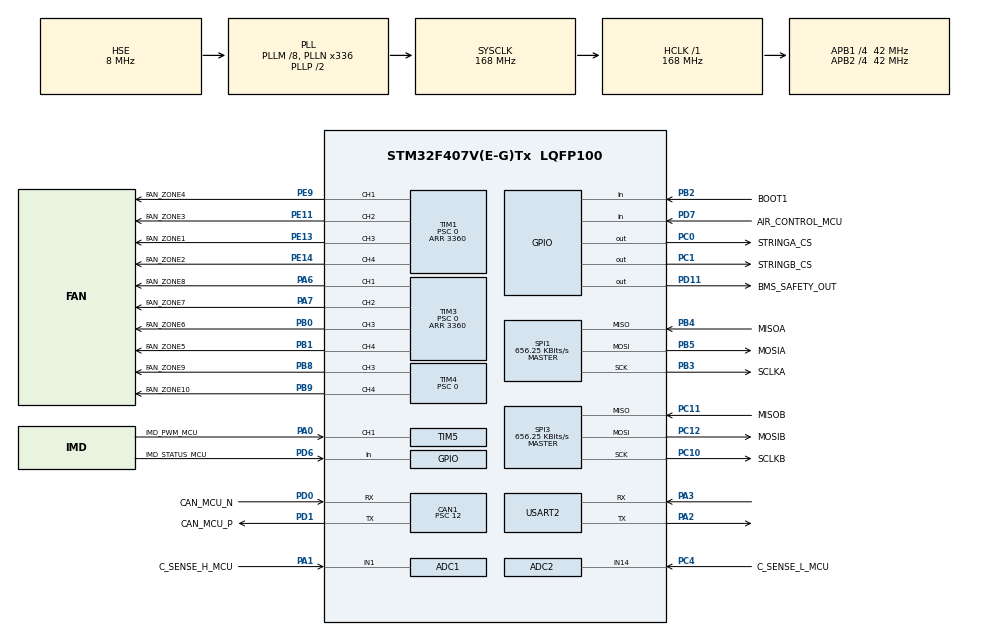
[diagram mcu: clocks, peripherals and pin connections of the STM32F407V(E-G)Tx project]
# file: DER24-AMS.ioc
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ADC1.Channel-0\#ChannelRegularConversion=ADC_CHANNEL_1
ADC1.ClockPrescaler=ADC_CLOCK_SYNC_PCLK_DIV4
ADC1.NbrOfConversionFlag=1
ADC1.Rank-0\#ChannelRegularConversion=1
ADC1.SamplingTime-0\#ChannelRegularConversion=ADC_SAMPLETIME_3CYCLES
ADC1.master=1
ADC2.Channel-0\#ChannelRegularConversion=ADC_CHANNEL_14
ADC2.ClockPrescaler=ADC_CLOCK_SYNC_PCLK_DIV4
ADC2.NbrOfConversionFlag=1
ADC2.Rank-0\#ChannelRegularConversion=1
ADC2.SamplingTime-0\#ChannelRegularConversion=ADC_SAMPLETIME_3CYCLES
CAN1.ABOM=ENABLE
CAN1.AWUM=ENABLE
CAN1.BS1=CAN_BS1_11TQ
CAN1.BS2=CAN_BS2_2TQ
CAN1.CalculateBaudRate=250000
CAN1.CalculateTimeBit=4000
CAN1.CalculateTimeQuantum=285.7142857142857
CAN1.Prescaler=12
FREERTOS.Tasks01=null_task,8,256,null_task_fn,As weak,NULL,Dynamic,NULL,NULL
FREERTOS.configCHECK_FOR_STACK_OVERFLOW=1
FREERTOS.configENABLE_FPU=1
FREERTOS.configMINIMAL_STACK_SIZE=256
FREERTOS.configQUEUE_REGISTRY_SIZE=8
FREERTOS.configTOTAL_HEAP_SIZE=30720
FREERTOS.configUSE_NEWLIB_REENTRANT=1
FREERTOS.configUSE_PREEMPTION=0
Mcu.Family=STM32F4
Mcu.Name=STM32F407V(E-G)Tx
Mcu.Package=LQFP100
NVIC.CAN1_RX0_IRQn=true\:5\:0\:false\:false\:true\:true\:true\:true\:true
NVIC.PriorityGroup=NVIC_PRIORITYGROUP_4
NVIC.TIM2_IRQn=true\:15\:0\:false\:false\:true\:false\:false\:true\:true
NVIC.TIM5_IRQn=true\:5\:0\:false\:false\:true\:true\:true\:true\:true
NVIC.TimeBase=TIM2_IRQn
NVIC.TimeBaseIP=TIM2
NVIC.USART2_IRQn=true\:5\:0\:false\:false\:true\:true\:true\:true\:true
PA0-WKUP.GPIO_Label=IMD_PWM_MCU
PA0-WKUP.Signal=S_TIM5_CH1
PA1.GPIO_Label=C_SENSE_H_MCU
PA1.Signal=ADCx_IN1
PA13.GPIO_Label=SWDIO
PA13.Mode=Serial_Wire
PA13.Signal=SYS_JTMS-SWDIO
PA14.GPIO_Label=SWCLK
PA14.Mode=Serial_Wire
PA14.Signal=SYS_JTCK-SWCLK
PA2.Mode=Asynchronous
PA2.Signal=USART2_TX
PA3.Mode=Asynchronous
PA3.Signal=USART2_RX
PA6.GPIO_Label=FAN_ZONE8
PA6.Signal=S_TIM3_CH1
PA7.GPIO_Label=FAN_ZONE7
PA7.Signal=S_TIM3_CH2
PB0.GPIO_Label=FAN_ZONE6
PB0.Signal=S_TIM3_CH3
PB1.GPIO_Label=FAN_ZONE5
PB1.Signal=S_TIM3_CH4
PB2.GPIO_Label=BOOT1
PB2.GPIO_Mode=GPIO_MODE_INPUT
PB2.GPIO_PuPd=GPIO_NOPULL
PB2.Signal=GPIO_Input
PB3.GPIO_Label=SCLKA
PB3.Mode=Full_Duplex_Master
PB3.Signal=SPI1_SCK
PB4.GPIO_Label=MISOA
PB4.Mode=Full_Duplex_Master
PB4.Signal=SPI1_MISO
PB5.GPIO_Label=MOSIA
PB5.Mode=Full_Duplex_Master
PB5.Signal=SPI1_MOSI
PB8.GPIO_Label=FAN_ZONE9
PB8.Signal=S_TIM4_CH3
PB9.GPIO_Label=FAN_ZONE10
PB9.Signal=S_TIM4_CH4
PC0.GPIO_Label=STRINGA_CS
PC0.Signal=GPIO_Output
PC1.GPIO_Label=STRINGB_CS
PC1.Signal=GPIO_Output
PC10.GPIO_Label=SCLKB
PC10.Mode=Full_Duplex_Master
PC10.Signal=SPI3_SCK
PC11.GPIO_Label=MISOB
PC11.Mode=Full_Duplex_Master
PC11.Signal=SPI3_MISO
PC12.GPIO_Label=MOSIB
PC12.Mode=Full_Duplex_Master
PC12.Signal=SPI3_MOSI
PC14-OSC32_IN.GPIO_Label=PC14-OSC32_IN
PC14-OSC32_IN.Mode=LSE-External-Oscillator
PC14-OSC32_IN.Signal=RCC_OSC32_IN
PC15-OSC32_OUT.GPIO_Label=PC15-OSC32_OUT
PC15-OSC32_OUT.Mode=LSE-External-Oscillator
PC15-OSC32_OUT.Signal=RCC_OSC32_OUT
PC4.GPIO_Label=C_SENSE_L_MCU
PC4.Signal=ADCx_IN14
PD0.GPIO_Label=CAN_MCU_N
PD0.Mode=CAN_Activate
PD0.Signal=CAN1_RX
PD1.GPIO_Label=CAN_MCU_P
PD1.Mode=CAN_Activate
PD1.Signal=CAN1_TX
PD11.GPIO_Label=BMS_SAFETY_OUT
PD11.Signal=GPIO_Output
PD6.GPIO_Label=IMD_STATUS_MCU
PD6.Signal=GPIO_Input
PD7.GPIO_Label=AIR_CONTROL_MCU
PD7.Signal=GPIO_Input
PE11.GPIO_Label=FAN_ZONE3
PE11.Signal=S_TIM1_CH2
PE13.GPIO_Label=FAN_ZONE1
PE13.Signal=S_TIM1_CH3
PE14.GPIO_Label=FAN_ZONE2
PE14.Signal=S_TIM1_CH4
PE9.GPIO_Label=FAN_ZONE4
PE9.Signal=S_TIM1_CH1
PH0-OSC_IN.GPIO_Label=PH0-OSC_IN
PH0-OSC_IN.Mode=HSE-External-Oscillator
PH0-OSC_IN.Signal=RCC_OSC_IN
PH1-OSC_OUT.GPIO_Label=PH1-OSC_OUT
PH1-OSC_OUT.Mode=HSE-External-Oscillator
PH1-OSC_OUT.Signal=RCC_OSC_OUT
ProjectManager.HeapSize=0x200
ProjectManager.StackSize=0x400
ProjectManager.TargetToolchain=STM32CubeIDE
RCC.48MHZClocksFreq_Value=48000000
RCC.AHBFreq_Value=168000000
RCC.APB1CLKDivider=RCC_HCLK_DIV4
RCC.APB1Freq_Value=42000000
RCC.APB1TimFreq_Value=84000000
RCC.APB2CLKDivider=RCC_HCLK_DIV4
RCC.APB2Freq_Value=42000000
RCC.APB2TimFreq_Value=84000000
RCC.CortexFreq_Value=168000000
RCC.HCLKFreq_Value=168000000
RCC.HSE_VALUE=8000000
RCC.HSI_VALUE=16000000
RCC.PLLM=8
RCC.PLLN=336
RCC.PLLQ=7
RCC.PLLSourceVirtual=RCC_PLLSOURCE_HSE
RCC.SYSCLKFreq_VALUE=168000000
RCC.SYSCLKSource=RCC_SYSCLKSOURCE_PLLCLK
RCC.VCOOutputFreq_Value=336000000
SH.ADCx_IN1.0=ADC1_IN1,IN1
SH.ADCx_IN14.0=ADC2_IN14,IN14
SH.S_TIM1_CH1.0=TIM1_CH1,PWM Generation1 CH1
SH.S_TIM1_CH2.0=TIM1_CH2,PWM Generation2 CH2
SH.S_TIM1_CH3.0=TIM1_CH3,PWM Generation3 CH3
SH.S_TIM1_CH4.0=TIM1_CH4,PWM Generation4 CH4
SH.S_TIM3_CH1.0=TIM3_CH1,PWM Generation1 CH1
SH.S_TIM3_CH2.0=TIM3_CH2,PWM Generation2 CH2
SH.S_TIM3_CH3.0=TIM3_CH3,PWM Generation3 CH3
SH.S_TIM3_CH4.0=TIM3_CH4,PWM Generation4 CH4
SH.S_TIM4_CH3.0=TIM4_CH3,PWM Generation3 CH3
SH.S_TIM4_CH4.0=TIM4_CH4,PWM Generation4 CH4
SH.S_TIM5_CH1.0=TIM5_CH1,PWM_Input_1
SPI1.BaudRatePrescaler=SPI_BAUDRATEPRESCALER_64
SPI1.CLKPhase=SPI_PHASE_1EDGE
SPI1.CLKPolarity=SPI_POLARITY_LOW
SPI1.CalculateBaudRate=656.25 KBits/s
SPI1.Direction=SPI_DIRECTION_2LINES
SPI1.Mode=SPI_MODE_MASTER
SPI1.VirtualType=VM_MASTER
SPI3.BaudRatePrescaler=SPI_BAUDRATEPRESCALER_64
SPI3.CalculateBaudRate=656.25 KBits/s
SPI3.Direction=SPI_DIRECTION_2LINES
SPI3.Mode=SPI_MODE_MASTER
SPI3.VirtualType=VM_MASTER
TIM1.AutoReloadPreload=TIM_AUTORELOAD_PRELOAD_ENABLE
TIM1.Channel-PWM\ Generation1\ CH1=TIM_CHANNEL_1
TIM1.Channel-PWM\ Generation2\ CH2=TIM_CHANNEL_2
TIM1.Channel-PWM\ Generation3\ CH3=TIM_CHANNEL_3
TIM1.Channel-PWM\ Generation4\ CH4=TIM_CHANNEL_4
TIM1.Period=3360
TIM1.Prescaler=0
TIM3.AutoReloadPreload=TIM_AUTORELOAD_PRELOAD_ENABLE
TIM3.Channel-PWM\ Generation1\ CH1=TIM_CHANNEL_1
TIM3.Channel-PWM\ Generation2\ CH2=TIM_CHANNEL_2
TIM3.Channel-PWM\ Generation3\ CH3=TIM_CHANNEL_3
TIM3.Channel-PWM\ Generation4\ CH4=TIM_CHANNEL_4
TIM3.Period=3360
TIM3.Prescaler=0
TIM4.AutoReloadPreload=TIM_AUTORELOAD_PRELOAD_ENABLE
TIM4.Channel-PWM\ Generation3\ CH3=TIM_CHANNEL_3
TIM4.Channel-PWM\ Generation4\ CH4=TIM_CHANNEL_4
TIM4.Prescaler=0
TIM8.Prescaler=167
USART2.VirtualMode=VM_ASYNC
VP_FREERTOS_VS_CMSIS_V2.Mode=CMSIS_V2
VP_SYS_VS_tim2.Mode=TIM2
VP_TIM1_VS_ClockSourceINT.Mode=Internal
VP_TIM3_VS_ClockSourceINT.Mode=Internal
VP_TIM4_VS_ClockSourceINT.Mode=Internal
VP_TIM8_VS_ClockSourceINT.Mode=Internal
board=STM32F407G-DISC1

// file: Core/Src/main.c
/* USER CODE BEGIN Header */
/**
  ******************************************************************************
  * @file           : main.c
  * @brief          : Main program body
  ******************************************************************************
  * @attention
  *
  * Copyright (c) 2024 STMicroelectronics.
  * All rights reserved.
  *
  * This software is licensed under terms that can be found in the LICENSE file
  * in the root directory of this software component.
  * If no LICENSE file comes with this software, it is provided AS-IS.
  *
  ******************************************************************************
  */
/* USER CODE END Header */
#include "main.h"
#include "cmsis_os.h"

/* USER CODE BEGIN Includes */
#include "app.h"
/* USER CODE END Includes */

ADC_HandleTypeDef hadc1;
ADC_HandleTypeDef hadc2;

CAN_HandleTypeDef hcan1;

SPI_HandleTypeDef hspi1;
SPI_HandleTypeDef hspi3;

TIM_HandleTypeDef htim1;
TIM_HandleTypeDef htim3;
TIM_HandleTypeDef htim4;
TIM_HandleTypeDef htim5;
TIM_HandleTypeDef htim8;

UART_HandleTypeDef huart2;

/* Definitions for null_task */
osThreadId_t null_taskHandle;
const osThreadAttr_t null_task_attributes = {
  .name = "null_task",
  .stack_size = 256 * 4,
  .priority = (osPriority_t) osPriorityLow,
};

void SystemClock_Config(void);
static void MX_GPIO_Init(void);
static void MX_TIM1_Init(void);
static void MX_TIM3_Init(void);
static void MX_TIM4_Init(void);
static void MX_ADC1_Init(void);
static void MX_ADC2_Init(void);
static void MX_CAN1_Init(void);
static void MX_SPI3_Init(void);
static void MX_TIM5_Init(void);
static void MX_USART2_UART_Init(void);
static void MX_SPI1_Init(void);
static void MX_TIM8_Init(void);
void null_task_fn(void *argument);

int main(void)
{

  /* MCU Configuration--------------------------------------------------------*/

  /* Reset of all peripherals, Initializes the Flash interface and the Systick. */
  HAL_Init();

  /* Configure the system clock */
  SystemClock_Config();

  /* Initialize all configured peripherals */
  MX_GPIO_Init();
  MX_TIM1_Init();
  MX_TIM3_Init();
  MX_TIM4_Init();
  MX_ADC1_Init();
  MX_ADC2_Init();
  MX_CAN1_Init();
  MX_SPI3_Init();
  MX_TIM5_Init();
  MX_USART2_UART_Init();
  MX_SPI1_Init();
  MX_TIM8_Init();

  /* Init scheduler */
  osKernelInitialize();

  /* USER CODE BEGIN RTOS_QUEUES */
  /* add queues, ... */
#if 0
  /* USER CODE END RTOS_QUEUES */

  /* Create the thread(s) */
  /* creation of null_task */
  null_taskHandle = osThreadNew(null_task_fn, NULL, &null_task_attributes);

  /* USER CODE BEGIN RTOS_THREADS */
  /* add threads, ... */
#endif
  app_create();
  /* USER CODE END RTOS_THREADS */

  /* Start scheduler */
  osKernelStart();

  /* We should never get here as control is now taken by the scheduler */

  /* Infinite loop */
  while (1)
  {

  }
}

void SystemClock_Config(void)
{
  RCC_OscInitTypeDef RCC_OscInitStruct = {0};
  RCC_ClkInitTypeDef RCC_ClkInitStruct = {0};

  /** Configure the main internal regulator output voltage
  */
  __HAL_RCC_PWR_CLK_ENABLE();
  __HAL_PWR_VOLTAGESCALING_CONFIG(PWR_REGULATOR_VOLTAGE_SCALE1);

  /** Initializes the RCC Oscillators according to the specified parameters
  * in the RCC_OscInitTypeDef structure.
  */
  RCC_OscInitStruct.OscillatorType = RCC_OSCILLATORTYPE_HSE;
  RCC_OscInitStruct.HSEState = RCC_HSE_ON;
  RCC_OscInitStruct.PLL.PLLState = RCC_PLL_ON;
  RCC_OscInitStruct.PLL.PLLSource = RCC_PLLSOURCE_HSE;
  RCC_OscInitStruct.PLL.PLLM = 8;
  RCC_OscInitStruct.PLL.PLLN = 336;
  RCC_OscInitStruct.PLL.PLLP = RCC_PLLP_DIV2;
  RCC_OscInitStruct.PLL.PLLQ = 7;
  if (HAL_RCC_OscConfig(&RCC_OscInitStruct) != HAL_OK)
  {
    Error_Handler();
  }

  /** Initializes the CPU, AHB and APB buses clocks
  */
  RCC_ClkInitStruct.ClockType = RCC_CLOCKTYPE_HCLK|RCC_CLOCKTYPE_SYSCLK
                              |RCC_CLOCKTYPE_PCLK1|RCC_CLOCKTYPE_PCLK2;
  RCC_ClkInitStruct.SYSCLKSource = RCC_SYSCLKSOURCE_PLLCLK;
  RCC_ClkInitStruct.AHBCLKDivider = RCC_SYSCLK_DIV1;
  RCC_ClkInitStruct.APB1CLKDivider = RCC_HCLK_DIV4;
  RCC_ClkInitStruct.APB2CLKDivider = RCC_HCLK_DIV4;

  if (HAL_RCC_ClockConfig(&RCC_ClkInitStruct, FLASH_LATENCY_5) != HAL_OK)
  {
    Error_Handler();
  }
}

static void MX_ADC1_Init(void)
{

  ADC_ChannelConfTypeDef sConfig = {0};

  /** Configure the global features of the ADC (Clock, Resolution, Data Alignment and number of conversion)
  */
  hadc1.Instance = ADC1;
  hadc1.Init.ClockPrescaler = ADC_CLOCK_SYNC_PCLK_DIV4;
  hadc1.Init.Resolution = ADC_RESOLUTION_12B;
  hadc1.Init.ScanConvMode = DISABLE;
  hadc1.Init.ContinuousConvMode = DISABLE;
  hadc1.Init.DiscontinuousConvMode = DISABLE;
  hadc1.Init.ExternalTrigConvEdge = ADC_EXTERNALTRIGCONVEDGE_NONE;
  hadc1.Init.ExternalTrigConv = ADC_SOFTWARE_START;
  hadc1.Init.DataAlign = ADC_DATAALIGN_RIGHT;
  hadc1.Init.NbrOfConversion = 1;
  hadc1.Init.DMAContinuousRequests = DISABLE;
  hadc1.Init.EOCSelection = ADC_EOC_SINGLE_CONV;
  if (HAL_ADC_Init(&hadc1) != HAL_OK)
  {
    Error_Handler();
  }

  /** Configure for the selected ADC regular channel its corresponding rank in the sequencer and its sample time.
  */
  sConfig.Channel = ADC_CHANNEL_1;
  sConfig.Rank = 1;
  sConfig.SamplingTime = ADC_SAMPLETIME_3CYCLES;
  if (HAL_ADC_ConfigChannel(&hadc1, &sConfig) != HAL_OK)
  {
    Error_Handler();
  }

}

static void MX_ADC2_Init(void)
{

  ADC_ChannelConfTypeDef sConfig = {0};

  /** Configure the global features of the ADC (Clock, Resolution, Data Alignment and number of conversion)
  */
  hadc2.Instance = ADC2;
  hadc2.Init.ClockPrescaler = ADC_CLOCK_SYNC_PCLK_DIV4;
  hadc2.Init.Resolution = ADC_RESOLUTION_12B;
  hadc2.Init.ScanConvMode = DISABLE;
  hadc2.Init.ContinuousConvMode = DISABLE;
  hadc2.Init.DiscontinuousConvMode = DISABLE;
  hadc2.Init.ExternalTrigConvEdge = ADC_EXTERNALTRIGCONVEDGE_NONE;
  hadc2.Init.ExternalTrigConv = ADC_SOFTWARE_START;
  hadc2.Init.DataAlign = ADC_DATAALIGN_RIGHT;
  hadc2.Init.NbrOfConversion = 1;
  hadc2.Init.DMAContinuousRequests = DISABLE;
  hadc2.Init.EOCSelection = ADC_EOC_SINGLE_CONV;
  if (HAL_ADC_Init(&hadc2) != HAL_OK)
  {
    Error_Handler();
  }

  /** Configure for the selected ADC regular channel its corresponding rank in the sequencer and its sample time.
  */
  sConfig.Channel = ADC_CHANNEL_14;
  sConfig.Rank = 1;
  sConfig.SamplingTime = ADC_SAMPLETIME_3CYCLES;
  if (HAL_ADC_ConfigChannel(&hadc2, &sConfig) != HAL_OK)
  {
    Error_Handler();
  }

}

static void MX_CAN1_Init(void)
{

  /* USER CODE BEGIN CAN1_Init 0 */
	CAN_FilterTypeDef canfil;
  /* USER CODE END CAN1_Init 0 */

  hcan1.Instance = CAN1;
  hcan1.Init.Prescaler = 12;
  hcan1.Init.Mode = CAN_MODE_NORMAL;
  hcan1.Init.SyncJumpWidth = CAN_SJW_1TQ;
  hcan1.Init.TimeSeg1 = CAN_BS1_11TQ;
  hcan1.Init.TimeSeg2 = CAN_BS2_2TQ;
  hcan1.Init.TimeTriggeredMode = DISABLE;
  hcan1.Init.AutoBusOff = ENABLE;
  hcan1.Init.AutoWakeUp = ENABLE;
  hcan1.Init.AutoRetransmission = DISABLE;
  hcan1.Init.ReceiveFifoLocked = DISABLE;
  hcan1.Init.TransmitFifoPriority = DISABLE;
  if (HAL_CAN_Init(&hcan1) != HAL_OK)
  {
    Error_Handler();
  }
  /* USER CODE BEGIN CAN1_Init 2 */
  canfil.FilterBank = 0;
  canfil.FilterMode = CAN_FILTERMODE_IDMASK;
  canfil.FilterFIFOAssignment = CAN_RX_FIFO0;
  canfil.FilterIdHigh = 0;
  canfil.FilterIdLow = 0;
  canfil.FilterMaskIdHigh = 0;
  canfil.FilterMaskIdLow = 0;
  canfil.FilterScale = CAN_FILTERSCALE_32BIT;
  canfil.FilterActivation = ENABLE;
  canfil.SlaveStartFilterBank = 14;

  HAL_CAN_ConfigFilter(&hcan1, &canfil); // Initialize CAN Filter
  /* USER CODE END CAN1_Init 2 */

}

static void MX_SPI1_Init(void)
{

  /* SPI1 parameter configuration*/
  hspi1.Instance = SPI1;
  hspi1.Init.Mode = SPI_MODE_MASTER;
  hspi1.Init.Direction = SPI_DIRECTION_2LINES;
  hspi1.Init.DataSize = SPI_DATASIZE_8BIT;
  hspi1.Init.CLKPolarity = SPI_POLARITY_LOW;
  hspi1.Init.CLKPhase = SPI_PHASE_1EDGE;
  hspi1.Init.NSS = SPI_NSS_SOFT;
  hspi1.Init.BaudRatePrescaler = SPI_BAUDRATEPRESCALER_64;
  hspi1.Init.FirstBit = SPI_FIRSTBIT_MSB;
  hspi1.Init.TIMode = SPI_TIMODE_DISABLE;
  hspi1.Init.CRCCalculation = SPI_CRCCALCULATION_DISABLE;
  hspi1.Init.CRCPolynomial = 10;
  if (HAL_SPI_Init(&hspi1) != HAL_OK)
  {
    Error_Handler();
  }

}

static void MX_SPI3_Init(void)
{

  /* SPI3 parameter configuration*/
  hspi3.Instance = SPI3;
  hspi3.Init.Mode = SPI_MODE_MASTER;
  hspi3.Init.Direction = SPI_DIRECTION_2LINES;
  hspi3.Init.DataSize = SPI_DATASIZE_8BIT;
  hspi3.Init.CLKPolarity = SPI_POLARITY_LOW;
  hspi3.Init.CLKPhase = SPI_PHASE_1EDGE;
  hspi3.Init.NSS = SPI_NSS_SOFT;
  hspi3.Init.BaudRatePrescaler = SPI_BAUDRATEPRESCALER_64;
  hspi3.Init.FirstBit = SPI_FIRSTBIT_MSB;
  hspi3.Init.TIMode = SPI_TIMODE_DISABLE;
  hspi3.Init.CRCCalculation = SPI_CRCCALCULATION_DISABLE;
  hspi3.Init.CRCPolynomial = 10;
  if (HAL_SPI_Init(&hspi3) != HAL_OK)
  {
    Error_Handler();
  }

}

static void MX_TIM1_Init(void)
{

  TIM_ClockConfigTypeDef sClockSourceConfig = {0};
  TIM_MasterConfigTypeDef sMasterConfig = {0};
  TIM_OC_InitTypeDef sConfigOC = {0};
  TIM_BreakDeadTimeConfigTypeDef sBreakDeadTimeConfig = {0};

  htim1.Instance = TIM1;
  htim1.Init.Prescaler = 0;
  htim1.Init.CounterMode = TIM_COUNTERMODE_UP;
  htim1.Init.Period = 3360;
  htim1.Init.ClockDivision = TIM_CLOCKDIVISION_DIV1;
  htim1.Init.RepetitionCounter = 0;
  htim1.Init.AutoReloadPreload = TIM_AUTORELOAD_PRELOAD_ENABLE;
  if (HAL_TIM_Base_Init(&htim1) != HAL_OK)
  {
    Error_Handler();
  }
  sClockSourceConfig.ClockSource = TIM_CLOCKSOURCE_INTERNAL;
  if (HAL_TIM_ConfigClockSource(&htim1, &sClockSourceConfig) != HAL_OK)
  {
    Error_Handler();
  }
  if (HAL_TIM_PWM_Init(&htim1) != HAL_OK)
  {
    Error_Handler();
  }
  sMasterConfig.MasterOutputTrigger = TIM_TRGO_RESET;
  sMasterConfig.MasterSlaveMode = TIM_MASTERSLAVEMODE_DISABLE;
  if (HAL_TIMEx_MasterConfigSynchronization(&htim1, &sMasterConfig) != HAL_OK)
  {
    Error_Handler();
  }
  sConfigOC.OCMode = TIM_OCMODE_PWM1;
  sConfigOC.Pulse = 0;
  sConfigOC.OCPolarity = TIM_OCPOLARITY_HIGH;
  sConfigOC.OCNPolarity = TIM_OCNPOLARITY_HIGH;
  sConfigOC.OCFastMode = TIM_OCFAST_DISABLE;
  sConfigOC.OCIdleState = TIM_OCIDLESTATE_RESET;
  sConfigOC.OCNIdleState = TIM_OCNIDLESTATE_RESET;
  if (HAL_TIM_PWM_ConfigChannel(&htim1, &sConfigOC, TIM_CHANNEL_1) != HAL_OK)
  {
    Error_Handler();
  }
  if (HAL_TIM_PWM_ConfigChannel(&htim1, &sConfigOC, TIM_CHANNEL_2) != HAL_OK)
  {
    Error_Handler();
  }
  if (HAL_TIM_PWM_ConfigChannel(&htim1, &sConfigOC, TIM_CHANNEL_3) != HAL_OK)
  {
    Error_Handler();
  }
  if (HAL_TIM_PWM_ConfigChannel(&htim1, &sConfigOC, TIM_CHANNEL_4) != HAL_OK)
  {
    Error_Handler();
  }
  sBreakDeadTimeConfig.OffStateRunMode = TIM_OSSR_DISABLE;
  sBreakDeadTimeConfig.OffStateIDLEMode = TIM_OSSI_DISABLE;
  sBreakDeadTimeConfig.LockLevel = TIM_LOCKLEVEL_OFF;
  sBreakDeadTimeConfig.DeadTime = 0;
  sBreakDeadTimeConfig.BreakState = TIM_BREAK_DISABLE;
  sBreakDeadTimeConfig.BreakPolarity = TIM_BREAKPOLARITY_HIGH;
  sBreakDeadTimeConfig.AutomaticOutput = TIM_AUTOMATICOUTPUT_DISABLE;
  if (HAL_TIMEx_ConfigBreakDeadTime(&htim1, &sBreakDeadTimeConfig) != HAL_OK)
  {
    Error_Handler();
  }
  HAL_TIM_MspPostInit(&htim1);

}

static void MX_TIM3_Init(void)
{

  TIM_ClockConfigTypeDef sClockSourceConfig = {0};
  TIM_MasterConfigTypeDef sMasterConfig = {0};
  TIM_OC_InitTypeDef sConfigOC = {0};

  htim3.Instance = TIM3;
  htim3.Init.Prescaler = 0;
  htim3.Init.CounterMode = TIM_COUNTERMODE_UP;
  htim3.Init.Period = 3360;
  htim3.Init.ClockDivision = TIM_CLOCKDIVISION_DIV1;
  htim3.Init.AutoReloadPreload = TIM_AUTORELOAD_PRELOAD_ENABLE;
  if (HAL_TIM_Base_Init(&htim3) != HAL_OK)
  {
    Error_Handler();
  }
  sClockSourceConfig.ClockSource = TIM_CLOCKSOURCE_INTERNAL;
  if (HAL_TIM_ConfigClockSource(&htim3, &sClockSourceConfig) != HAL_OK)
  {
    Error_Handler();
  }
  if (HAL_TIM_PWM_Init(&htim3) != HAL_OK)
  {
    Error_Handler();
  }
  sMasterConfig.MasterOutputTrigger = TIM_TRGO_RESET;
  sMasterConfig.MasterSlaveMode = TIM_MASTERSLAVEMODE_DISABLE;
  if (HAL_TIMEx_MasterConfigSynchronization(&htim3, &sMasterConfig) != HAL_OK)
  {
    Error_Handler();
  }
  sConfigOC.OCMode = TIM_OCMODE_PWM1;
  sConfigOC.Pulse = 0;
  sConfigOC.OCPolarity = TIM_OCPOLARITY_HIGH;
  sConfigOC.OCFastMode = TIM_OCFAST_DISABLE;
  if (HAL_TIM_PWM_ConfigChannel(&htim3, &sConfigOC, TIM_CHANNEL_1) != HAL_OK)
  {
    Error_Handler();
  }
  if (HAL_TIM_PWM_ConfigChannel(&htim3, &sConfigOC, TIM_CHANNEL_2) != HAL_OK)
  {
    Error_Handler();
  }
  if (HAL_TIM_PWM_ConfigChannel(&htim3, &sConfigOC, TIM_CHANNEL_3) != HAL_OK)
  {
    Error_Handler();
  }
  if (HAL_TIM_PWM_ConfigChannel(&htim3, &sConfigOC, TIM_CHANNEL_4) != HAL_OK)
  {
    Error_Handler();
  }
  HAL_TIM_MspPostInit(&htim3);

}

static void MX_TIM4_Init(void)
{

  TIM_ClockConfigTypeDef sClockSourceConfig = {0};
  TIM_MasterConfigTypeDef sMasterConfig = {0};
  TIM_OC_InitTypeDef sConfigOC = {0};

  htim4.Instance = TIM4;
  htim4.Init.Prescaler = 0;
  htim4.Init.CounterMode = TIM_COUNTERMODE_UP;
  htim4.Init.Period = 65535;
  htim4.Init.ClockDivision = TIM_CLOCKDIVISION_DIV1;
  htim4.Init.AutoReloadPreload = TIM_AUTORELOAD_PRELOAD_ENABLE;
  if (HAL_TIM_Base_Init(&htim4) != HAL_OK)
  {
    Error_Handler();
  }
  sClockSourceConfig.ClockSource = TIM_CLOCKSOURCE_INTERNAL;
  if (HAL_TIM_ConfigClockSource(&htim4, &sClockSourceConfig) != HAL_OK)
  {
    Error_Handler();
  }
  if (HAL_TIM_PWM_Init(&htim4) != HAL_OK)
  {
    Error_Handler();
  }
  sMasterConfig.MasterOutputTrigger = TIM_TRGO_RESET;
  sMasterConfig.MasterSlaveMode = TIM_MASTERSLAVEMODE_DISABLE;
  if (HAL_TIMEx_MasterConfigSynchronization(&htim4, &sMasterConfig) != HAL_OK)
  {
    Error_Handler();
  }
  sConfigOC.OCMode = TIM_OCMODE_PWM1;
  sConfigOC.Pulse = 0;
  sConfigOC.OCPolarity = TIM_OCPOLARITY_HIGH;
  sConfigOC.OCFastMode = TIM_OCFAST_DISABLE;
  if (HAL_TIM_PWM_ConfigChannel(&htim4, &sConfigOC, TIM_CHANNEL_3) != HAL_OK)
  {
    Error_Handler();
  }
  if (HAL_TIM_PWM_ConfigChannel(&htim4, &sConfigOC, TIM_CHANNEL_4) != HAL_OK)
  {
    Error_Handler();
  }
  HAL_TIM_MspPostInit(&htim4);

}

static void MX_TIM5_Init(void)
{

  TIM_SlaveConfigTypeDef sSlaveConfig = {0};
  TIM_IC_InitTypeDef sConfigIC = {0};
  TIM_MasterConfigTypeDef sMasterConfig = {0};

  htim5.Instance = TIM5;
  htim5.Init.Prescaler = 0;
  htim5.Init.CounterMode = TIM_COUNTERMODE_UP;
  htim5.Init.Period = 4294967295;
  htim5.Init.ClockDivision = TIM_CLOCKDIVISION_DIV1;
  htim5.Init.AutoReloadPreload = TIM_AUTORELOAD_PRELOAD_DISABLE;
  if (HAL_TIM_IC_Init(&htim5) != HAL_OK)
  {
    Error_Handler();
  }
  sSlaveConfig.SlaveMode = TIM_SLAVEMODE_RESET;
  sSlaveConfig.InputTrigger = TIM_TS_TI1FP1;
  sSlaveConfig.TriggerPolarity = TIM_INPUTCHANNELPOLARITY_RISING;
  sSlaveConfig.TriggerPrescaler = TIM_ICPSC_DIV1;
  sSlaveConfig.TriggerFilter = 0;
  if (HAL_TIM_SlaveConfigSynchro(&htim5, &sSlaveConfig) != HAL_OK)
  {
    Error_Handler();
  }
  sConfigIC.ICPolarity = TIM_INPUTCHANNELPOLARITY_RISING;
  sConfigIC.ICSelection = TIM_ICSELECTION_DIRECTTI;
  sConfigIC.ICPrescaler = TIM_ICPSC_DIV1;
  sConfigIC.ICFilter = 0;
  if (HAL_TIM_IC_ConfigChannel(&htim5, &sConfigIC, TIM_CHANNEL_1) != HAL_OK)
  {
    Error_Handler();
  }
  sConfigIC.ICPolarity = TIM_INPUTCHANNELPOLARITY_FALLING;
  sConfigIC.ICSelection = TIM_ICSELECTION_INDIRECTTI;
  if (HAL_TIM_IC_ConfigChannel(&htim5, &sConfigIC, TIM_CHANNEL_2) != HAL_OK)
  {
    Error_Handler();
  }
  sMasterConfig.MasterOutputTrigger = TIM_TRGO_RESET;
  sMasterConfig.MasterSlaveMode = TIM_MASTERSLAVEMODE_DISABLE;
  if (HAL_TIMEx_MasterConfigSynchronization(&htim5, &sMasterConfig) != HAL_OK)
  {
    Error_Handler();
  }

}

static void MX_TIM8_Init(void)
{

  TIM_ClockConfigTypeDef sClockSourceConfig = {0};
  TIM_MasterConfigTypeDef sMasterConfig = {0};

  htim8.Instance = TIM8;
  htim8.Init.Prescaler = 167;
  htim8.Init.CounterMode = TIM_COUNTERMODE_UP;
  htim8.Init.Period = 65535;
  htim8.Init.ClockDivision = TIM_CLOCKDIVISION_DIV1;
  htim8.Init.RepetitionCounter = 0;
  htim8.Init.AutoReloadPreload = TIM_AUTORELOAD_PRELOAD_DISABLE;
  if (HAL_TIM_Base_Init(&htim8) != HAL_OK)
  {
    Error_Handler();
  }
  sClockSourceConfig.ClockSource = TIM_CLOCKSOURCE_INTERNAL;
  if (HAL_TIM_ConfigClockSource(&htim8, &sClockSourceConfig) != HAL_OK)
  {
    Error_Handler();
  }
  sMasterConfig.MasterOutputTrigger = TIM_TRGO_RESET;
  sMasterConfig.MasterSlaveMode = TIM_MASTERSLAVEMODE_DISABLE;
  if (HAL_TIMEx_MasterConfigSynchronization(&htim8, &sMasterConfig) != HAL_OK)
  {
    Error_Handler();
  }
  /* USER CODE BEGIN TIM8_Init 2 */
	HAL_TIM_Base_Start(&htim8);
  /* USER CODE END TIM8_Init 2 */

}

static void MX_USART2_UART_Init(void)
{

  huart2.Instance = USART2;
  huart2.Init.BaudRate = 115200;
  huart2.Init.WordLength = UART_WORDLENGTH_8B;
  huart2.Init.StopBits = UART_STOPBITS_1;
  huart2.Init.Parity = UART_PARITY_NONE;
  huart2.Init.Mode = UART_MODE_TX_RX;
  huart2.Init.HwFlowCtl = UART_HWCONTROL_NONE;
  huart2.Init.OverSampling = UART_OVERSAMPLING_16;
  if (HAL_UART_Init(&huart2) != HAL_OK)
  {
    Error_Handler();
  }

}

static void MX_GPIO_Init(void)
{
  GPIO_InitTypeDef GPIO_InitStruct = {0};

  /* GPIO Ports Clock Enable */
  __HAL_RCC_GPIOC_CLK_ENABLE();
  __HAL_RCC_GPIOH_CLK_ENABLE();
  __HAL_RCC_GPIOA_CLK_ENABLE();
  __HAL_RCC_GPIOB_CLK_ENABLE();
  __HAL_RCC_GPIOE_CLK_ENABLE();
  __HAL_RCC_GPIOD_CLK_ENABLE();

  /*Configure GPIO pin Output Level */
  HAL_GPIO_WritePin(GPIOC, STRINGA_CS_Pin|STRINGB_CS_Pin, GPIO_PIN_RESET);

  /*Configure GPIO pin Output Level */
  HAL_GPIO_WritePin(BMS_SAFETY_OUT_GPIO_Port, BMS_SAFETY_OUT_Pin, GPIO_PIN_RESET);

  /*Configure GPIO pins : STRINGA_CS_Pin STRINGB_CS_Pin */
  GPIO_InitStruct.Pin = STRINGA_CS_Pin|STRINGB_CS_Pin;
  GPIO_InitStruct.Mode = GPIO_MODE_OUTPUT_PP;
  GPIO_InitStruct.Pull = GPIO_NOPULL;
  GPIO_InitStruct.Speed = GPIO_SPEED_FREQ_LOW;
  HAL_GPIO_Init(GPIOC, &GPIO_InitStruct);

  /*Configure GPIO pin : BOOT1_Pin */
  GPIO_InitStruct.Pin = BOOT1_Pin;
  GPIO_InitStruct.Mode = GPIO_MODE_INPUT;
  GPIO_InitStruct.Pull = GPIO_NOPULL;
  HAL_GPIO_Init(BOOT1_GPIO_Port, &GPIO_InitStruct);

  /*Configure GPIO pin : BMS_SAFETY_OUT_Pin */
  GPIO_InitStruct.Pin = BMS_SAFETY_OUT_Pin;
  GPIO_InitStruct.Mode = GPIO_MODE_OUTPUT_PP;
  GPIO_InitStruct.Pull = GPIO_NOPULL;
  GPIO_InitStruct.Speed = GPIO_SPEED_FREQ_LOW;
  HAL_GPIO_Init(BMS_SAFETY_OUT_GPIO_Port, &GPIO_InitStruct);

  /*Configure GPIO pins : IMD_STATUS_MCU_Pin AIR_CONTROL_MCU_Pin */
  GPIO_InitStruct.Pin = IMD_STATUS_MCU_Pin|AIR_CONTROL_MCU_Pin;
  GPIO_InitStruct.Mode = GPIO_MODE_INPUT;
  GPIO_InitStruct.Pull = GPIO_NOPULL;
  HAL_GPIO_Init(GPIOD, &GPIO_InitStruct);

}

__weak void null_task_fn(void *argument)
{
  for(;;)
  {
    osDelay(1);
  }
}

void HAL_TIM_PeriodElapsedCallback(TIM_HandleTypeDef *htim)
{
  if (htim->Instance == TIM2) {
    HAL_IncTick();
  }
}

void Error_Handler(void)
{
  __disable_irq();
  while (1)
  {
  }
}

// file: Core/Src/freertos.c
/* USER CODE BEGIN Header */
/**
  ******************************************************************************
  * File Name          : freertos.c
  * Description        : Code for freertos applications
  ******************************************************************************
  * @attention
  *
  * Copyright (c) 2024 STMicroelectronics.
  * All rights reserved.
  *
  * This software is licensed under terms that can be found in the LICENSE file
  * in the root directory of this software component.
  * If no LICENSE file comes with this software, it is provided AS-IS.
  *
  ******************************************************************************
  */
/* USER CODE END Header */

#include "FreeRTOS.h"
#include "task.h"
#include "main.h"

/* Hook prototypes */
void vApplicationStackOverflowHook(xTaskHandle xTask, signed char *pcTaskName);

/* USER CODE BEGIN 4 */
void vApplicationStackOverflowHook(xTaskHandle xTask, signed char *pcTaskName)
{
   /* Run time stack overflow checking is performed if
   configCHECK_FOR_STACK_OVERFLOW is defined to 1 or 2. This hook function is
   called if a stack overflow is detected. */
	for(;;);
}
/* USER CODE END 4 */
